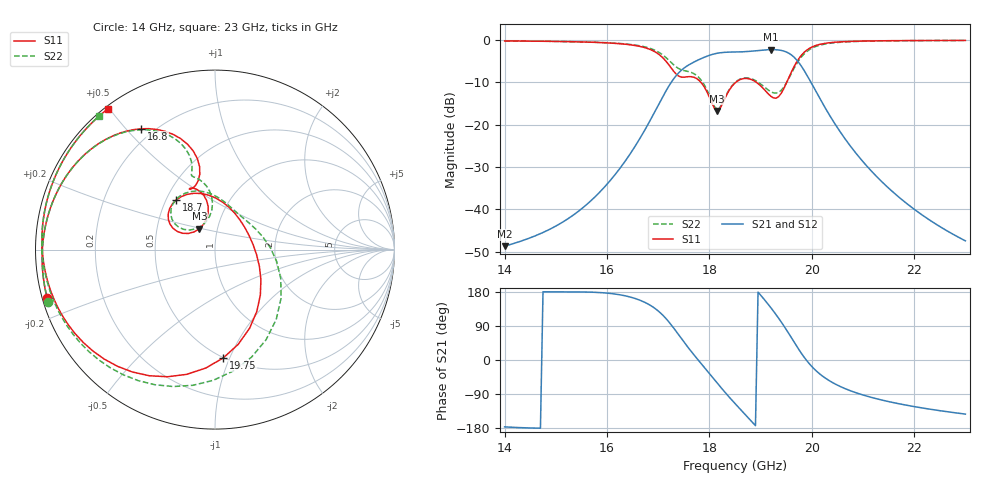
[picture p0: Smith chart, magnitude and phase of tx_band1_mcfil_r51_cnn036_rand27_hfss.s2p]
! Touchstone file exported from HFSS 3D Layout Design 2026.1.0
!  File:  D:/Work/SIM/ADS_AUTO_SIM/projects/RFSOC_RF/TX_Fillter.aedt
!  Generated:  05:11:10 AM Aug 31, 2026
!  Design:  TX_BAND1_MCFIL_R51_CNN036
!  Project:  TX_Fillter
# GHz S MA R 50.000000
! Terminal data exported
! Port[1] = Port1
! Port[2] = Port2
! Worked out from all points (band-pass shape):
!   181 points, 14 GHz to 23 GHz, reference 50 ohm
!   highest |S21| = -2.29 dB at 19.2 GHz (marker M1); lowest = -48.7 dB at 14 GHz (marker M2)
!   |S21| within 3 dB of the highest: 17.69 GHz to 19.74 GHz (2.054 GHz wide, 11 % of centre)
!   lowest |S11| = -16.8 dB at 18.15 GHz (marker M3), VSWR 1.34, Z = 41 + j9.72 ohm
!   |S11| at or under -10 dB: 17.83 GHz to 18.52 GHz (684.2 MHz wide, 3.76 % of centre); 18.92 GHz to 19.51 GHz (594.9 MHz wide, 3.1 % of centre)
!   |S22| runs from -16.4 to -0.1 dB; largest |S21 - S12| = 1.7e-14
!   S11 on the Smith chart (normalised r, x): 14 GHz: 0.01, -0.14; 16.8 GHz: 0.15, +0.55; 18.7 GHz: 0.56, +0.36; 19.75 GHz: 0.50, -0.95; 23 GHz: 0.01, +0.50
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14  0.9733 -163.8  0.003691 -176.5  0.003691 -176.5  0.9739 -162.4
15.5  0.9464 166.1  0.01015 179.6  0.01015 179.6  0.9484 167.7
16.25  0.9019 144.9  0.03042 172.1  0.03042 172.1  0.9079 147.1
16.8  0.7888 121.4  0.1008 147.9  0.1008 147.9  0.8096 125.1
17  0.6841 110.1  0.1693 129.4  0.1693 129.4  0.7213 114.8
17.25  0.4697 100.5  0.3129 93.5  0.3129 93.5  0.5445 105.2
17.5  0.3631 112.0  0.463 48.0  0.463 48.0  0.4354 107.6
17.85  0.3081 101.6  0.606 -11.3  0.606 -11.3  0.3283 95.3
18.15  0.1452 126.8  0.6956 -60.4  0.6956 -60.4  0.1519 120.5
18.3  0.2024 153.3  0.714 -84.5  0.714 -84.5  0.2073 147.1
18.5  0.3105 146.9  0.7199 -114.8  0.7199 -114.8  0.315 141.5
18.7  0.3512 127.7  0.7268 -143.8  0.7268 -143.8  0.3567 123.4
18.95  0.3054 96.7  0.7494 179.1  0.7494 179.1  0.3174 96.5
19.2  0.2164 50.3  0.7682 138.1  0.7682 138.1  0.245 65.0
19.45  0.2641 -20.6  0.7396 90.9  0.7396 90.9  0.2757 14.9
19.6  0.4161 -55.9  0.6663 59.2  0.6663 59.2  0.401 -23.9
19.75  0.6053 -85.6  0.5366 27.1  0.5366 27.1  0.5772 -60.4
20  0.8228 -124.0  0.3032 -17.1  0.3032 -17.1  0.7977 -107.0
20.25  0.9091 -148.9  0.1623 -46.5  0.1623 -46.5  0.8925 -136.4
20.55  0.9477 -168.4  0.08313 -69.6  0.08313 -69.6  0.9379 -159.0
21.5  0.9783 157.4  0.01786 -109.8  0.01786 -109.8  0.9759 162.9
23  0.9852 127.2  0.004265 -142.8  0.004265 -142.8  0.985 130.9
